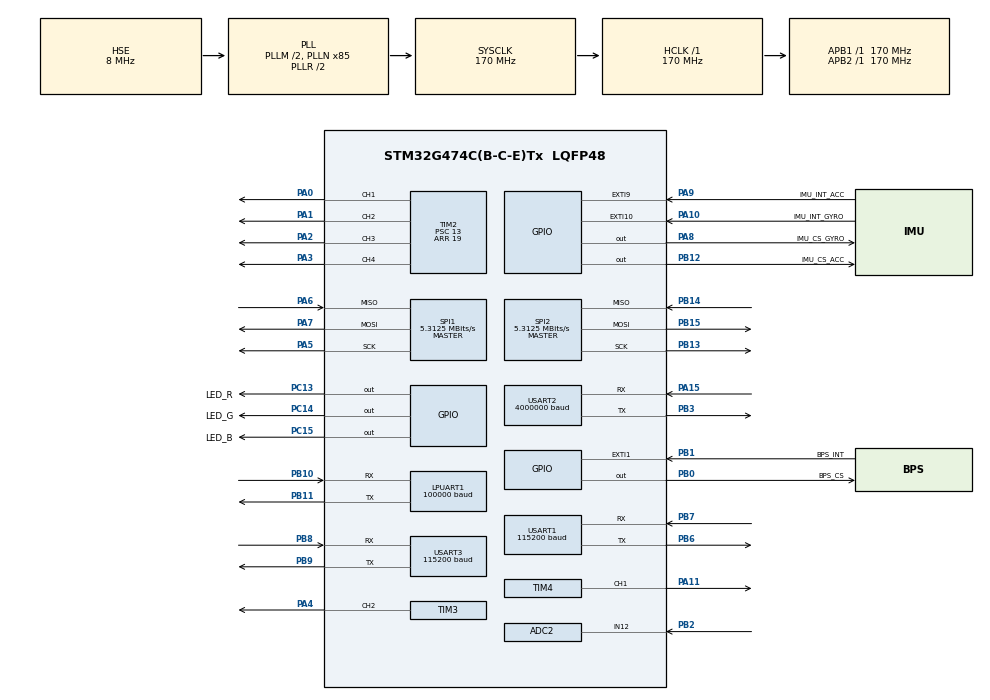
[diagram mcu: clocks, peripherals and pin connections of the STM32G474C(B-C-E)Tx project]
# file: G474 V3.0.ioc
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ADC2.Channel-0\#ChannelRegularConversion=ADC_CHANNEL_12
ADC2.NbrOfConversionFlag=1
ADC2.OffsetNumber-0\#ChannelRegularConversion=ADC_OFFSET_NONE
ADC2.Rank-0\#ChannelRegularConversion=1
ADC2.SamplingTime-0\#ChannelRegularConversion=ADC_SAMPLETIME_47CYCLES_5
Dma.LPUART1_RX.9.Direction=DMA_PERIPH_TO_MEMORY
Dma.LPUART1_RX.9.EventEnable=DISABLE
Dma.LPUART1_RX.9.Instance=DMA2_Channel2
Dma.LPUART1_RX.9.MemDataAlignment=DMA_MDATAALIGN_BYTE
Dma.LPUART1_RX.9.MemInc=DMA_MINC_ENABLE
Dma.LPUART1_RX.9.Mode=DMA_NORMAL
Dma.LPUART1_RX.9.PeriphDataAlignment=DMA_PDATAALIGN_BYTE
Dma.LPUART1_RX.9.PeriphInc=DMA_PINC_DISABLE
Dma.LPUART1_RX.9.Polarity=HAL_DMAMUX_REQ_GEN_RISING
Dma.LPUART1_RX.9.Priority=DMA_PRIORITY_LOW
Dma.LPUART1_RX.9.RequestNumber=1
Dma.LPUART1_RX.9.SignalID=NONE
Dma.LPUART1_RX.9.SyncEnable=DISABLE
Dma.LPUART1_RX.9.SyncPolarity=HAL_DMAMUX_SYNC_NO_EVENT
Dma.LPUART1_RX.9.SyncRequestNumber=1
Dma.LPUART1_RX.9.SyncSignalID=NONE
Dma.Request0=USART1_RX
Dma.Request1=USART1_TX
Dma.Request10=USART3_TX
Dma.Request2=USART2_RX
Dma.Request3=USART2_TX
Dma.Request4=USART3_RX
Dma.Request5=TIM2_CH1
Dma.Request6=TIM2_CH2
Dma.Request7=TIM2_CH3
Dma.Request8=TIM2_CH4
Dma.Request9=LPUART1_RX
Dma.TIM2_CH1.5.Direction=DMA_MEMORY_TO_PERIPH
Dma.TIM2_CH1.5.EventEnable=DISABLE
Dma.TIM2_CH1.5.Instance=DMA1_Channel6
Dma.TIM2_CH1.5.MemDataAlignment=DMA_MDATAALIGN_HALFWORD
Dma.TIM2_CH1.5.MemInc=DMA_MINC_ENABLE
Dma.TIM2_CH1.5.Mode=DMA_NORMAL
Dma.TIM2_CH1.5.PeriphDataAlignment=DMA_PDATAALIGN_HALFWORD
Dma.TIM2_CH1.5.PeriphInc=DMA_PINC_DISABLE
Dma.TIM2_CH1.5.Polarity=HAL_DMAMUX_REQ_GEN_RISING
Dma.TIM2_CH1.5.Priority=DMA_PRIORITY_HIGH
Dma.TIM2_CH1.5.RequestNumber=1
Dma.TIM2_CH1.5.SignalID=NONE
Dma.TIM2_CH1.5.SyncEnable=DISABLE
Dma.TIM2_CH1.5.SyncPolarity=HAL_DMAMUX_SYNC_NO_EVENT
Dma.TIM2_CH1.5.SyncRequestNumber=1
Dma.TIM2_CH1.5.SyncSignalID=NONE
Dma.TIM2_CH2.6.Direction=DMA_MEMORY_TO_PERIPH
Dma.TIM2_CH2.6.EventEnable=DISABLE
Dma.TIM2_CH2.6.Instance=DMA1_Channel7
Dma.TIM2_CH2.6.MemDataAlignment=DMA_MDATAALIGN_HALFWORD
Dma.TIM2_CH2.6.MemInc=DMA_MINC_ENABLE
Dma.TIM2_CH2.6.Mode=DMA_NORMAL
Dma.TIM2_CH2.6.PeriphDataAlignment=DMA_PDATAALIGN_HALFWORD
Dma.TIM2_CH2.6.PeriphInc=DMA_PINC_DISABLE
Dma.TIM2_CH2.6.Polarity=HAL_DMAMUX_REQ_GEN_RISING
Dma.TIM2_CH2.6.Priority=DMA_PRIORITY_HIGH
Dma.TIM2_CH2.6.RequestNumber=1
Dma.TIM2_CH2.6.SignalID=NONE
Dma.TIM2_CH2.6.SyncEnable=DISABLE
Dma.TIM2_CH2.6.SyncPolarity=HAL_DMAMUX_SYNC_NO_EVENT
Dma.TIM2_CH2.6.SyncRequestNumber=1
Dma.TIM2_CH2.6.SyncSignalID=NONE
Dma.TIM2_CH3.7.Direction=DMA_MEMORY_TO_PERIPH
Dma.TIM2_CH3.7.EventEnable=DISABLE
Dma.TIM2_CH3.7.Instance=DMA1_Channel8
Dma.TIM2_CH3.7.MemDataAlignment=DMA_MDATAALIGN_HALFWORD
Dma.TIM2_CH3.7.MemInc=DMA_MINC_ENABLE
Dma.TIM2_CH3.7.Mode=DMA_NORMAL
Dma.TIM2_CH3.7.PeriphDataAlignment=DMA_PDATAALIGN_HALFWORD
Dma.TIM2_CH3.7.PeriphInc=DMA_PINC_DISABLE
Dma.TIM2_CH3.7.Polarity=HAL_DMAMUX_REQ_GEN_RISING
Dma.TIM2_CH3.7.Priority=DMA_PRIORITY_HIGH
Dma.TIM2_CH3.7.RequestNumber=1
Dma.TIM2_CH3.7.SignalID=NONE
Dma.TIM2_CH3.7.SyncEnable=DISABLE
Dma.TIM2_CH3.7.SyncPolarity=HAL_DMAMUX_SYNC_NO_EVENT
Dma.TIM2_CH3.7.SyncRequestNumber=1
Dma.TIM2_CH3.7.SyncSignalID=NONE
Dma.TIM2_CH4.8.Direction=DMA_MEMORY_TO_PERIPH
Dma.TIM2_CH4.8.EventEnable=DISABLE
Dma.TIM2_CH4.8.Instance=DMA2_Channel1
Dma.TIM2_CH4.8.MemDataAlignment=DMA_MDATAALIGN_HALFWORD
Dma.TIM2_CH4.8.MemInc=DMA_MINC_ENABLE
Dma.TIM2_CH4.8.Mode=DMA_NORMAL
Dma.TIM2_CH4.8.PeriphDataAlignment=DMA_PDATAALIGN_HALFWORD
Dma.TIM2_CH4.8.PeriphInc=DMA_PINC_DISABLE
Dma.TIM2_CH4.8.Polarity=HAL_DMAMUX_REQ_GEN_RISING
Dma.TIM2_CH4.8.Priority=DMA_PRIORITY_HIGH
Dma.TIM2_CH4.8.RequestNumber=1
Dma.TIM2_CH4.8.SignalID=NONE
Dma.TIM2_CH4.8.SyncEnable=DISABLE
Dma.TIM2_CH4.8.SyncPolarity=HAL_DMAMUX_SYNC_NO_EVENT
Dma.TIM2_CH4.8.SyncRequestNumber=1
Dma.TIM2_CH4.8.SyncSignalID=NONE
Dma.USART1_RX.0.Direction=DMA_PERIPH_TO_MEMORY
Dma.USART1_RX.0.EventEnable=DISABLE
Dma.USART1_RX.0.Instance=DMA1_Channel1
Dma.USART1_RX.0.MemDataAlignment=DMA_MDATAALIGN_BYTE
Dma.USART1_RX.0.MemInc=DMA_MINC_ENABLE
Dma.USART1_RX.0.Mode=DMA_NORMAL
Dma.USART1_RX.0.PeriphDataAlignment=DMA_PDATAALIGN_BYTE
Dma.USART1_RX.0.PeriphInc=DMA_PINC_DISABLE
Dma.USART1_RX.0.Polarity=HAL_DMAMUX_REQ_GEN_RISING
Dma.USART1_RX.0.Priority=DMA_PRIORITY_LOW
Dma.USART1_RX.0.RequestNumber=1
Dma.USART1_RX.0.SignalID=NONE
Dma.USART1_RX.0.SyncEnable=DISABLE
Dma.USART1_RX.0.SyncPolarity=HAL_DMAMUX_SYNC_NO_EVENT
Dma.USART1_RX.0.SyncRequestNumber=1
Dma.USART1_RX.0.SyncSignalID=NONE
Dma.USART1_TX.1.Direction=DMA_MEMORY_TO_PERIPH
Dma.USART1_TX.1.EventEnable=DISABLE
Dma.USART1_TX.1.Instance=DMA1_Channel2
Dma.USART1_TX.1.MemDataAlignment=DMA_MDATAALIGN_BYTE
Dma.USART1_TX.1.MemInc=DMA_MINC_ENABLE
Dma.USART1_TX.1.Mode=DMA_NORMAL
Dma.USART1_TX.1.PeriphDataAlignment=DMA_PDATAALIGN_BYTE
Dma.USART1_TX.1.PeriphInc=DMA_PINC_DISABLE
Dma.USART1_TX.1.Polarity=HAL_DMAMUX_REQ_GEN_RISING
Dma.USART1_TX.1.Priority=DMA_PRIORITY_LOW
Dma.USART1_TX.1.RequestNumber=1
Dma.USART1_TX.1.SignalID=NONE
Dma.USART1_TX.1.SyncEnable=DISABLE
Dma.USART1_TX.1.SyncPolarity=HAL_DMAMUX_SYNC_NO_EVENT
Dma.USART1_TX.1.SyncRequestNumber=1
Dma.USART1_TX.1.SyncSignalID=NONE
Dma.USART2_RX.2.Direction=DMA_PERIPH_TO_MEMORY
Dma.USART2_RX.2.EventEnable=DISABLE
Dma.USART2_RX.2.Instance=DMA1_Channel3
Dma.USART2_RX.2.MemDataAlignment=DMA_MDATAALIGN_BYTE
Dma.USART2_RX.2.MemInc=DMA_MINC_ENABLE
Dma.USART2_RX.2.Mode=DMA_NORMAL
Dma.USART2_RX.2.PeriphDataAlignment=DMA_PDATAALIGN_BYTE
Dma.USART2_RX.2.PeriphInc=DMA_PINC_DISABLE
Dma.USART2_RX.2.Polarity=HAL_DMAMUX_REQ_GEN_RISING
Dma.USART2_RX.2.Priority=DMA_PRIORITY_LOW
Dma.USART2_RX.2.RequestNumber=1
Dma.USART2_RX.2.SignalID=NONE
Dma.USART2_RX.2.SyncEnable=DISABLE
Dma.USART2_RX.2.SyncPolarity=HAL_DMAMUX_SYNC_NO_EVENT
Dma.USART2_RX.2.SyncRequestNumber=1
Dma.USART2_RX.2.SyncSignalID=NONE
Dma.USART2_TX.3.Direction=DMA_MEMORY_TO_PERIPH
Dma.USART2_TX.3.EventEnable=DISABLE
Dma.USART2_TX.3.Instance=DMA1_Channel4
Dma.USART2_TX.3.MemDataAlignment=DMA_MDATAALIGN_BYTE
Dma.USART2_TX.3.MemInc=DMA_MINC_ENABLE
Dma.USART2_TX.3.Mode=DMA_NORMAL
Dma.USART2_TX.3.PeriphDataAlignment=DMA_PDATAALIGN_BYTE
Dma.USART2_TX.3.PeriphInc=DMA_PINC_DISABLE
Dma.USART2_TX.3.Polarity=HAL_DMAMUX_REQ_GEN_RISING
Dma.USART2_TX.3.Priority=DMA_PRIORITY_LOW
Dma.USART2_TX.3.RequestNumber=1
Dma.USART2_TX.3.SignalID=NONE
Dma.USART2_TX.3.SyncEnable=DISABLE
Dma.USART2_TX.3.SyncPolarity=HAL_DMAMUX_SYNC_NO_EVENT
Dma.USART2_TX.3.SyncRequestNumber=1
Dma.USART2_TX.3.SyncSignalID=NONE
Dma.USART3_RX.4.Direction=DMA_PERIPH_TO_MEMORY
Dma.USART3_RX.4.EventEnable=DISABLE
Dma.USART3_RX.4.Instance=DMA1_Channel5
Dma.USART3_RX.4.MemDataAlignment=DMA_MDATAALIGN_BYTE
Dma.USART3_RX.4.MemInc=DMA_MINC_ENABLE
Dma.USART3_RX.4.Mode=DMA_NORMAL
Dma.USART3_RX.4.PeriphDataAlignment=DMA_PDATAALIGN_BYTE
Dma.USART3_RX.4.PeriphInc=DMA_PINC_DISABLE
Dma.USART3_RX.4.Polarity=HAL_DMAMUX_REQ_GEN_RISING
Dma.USART3_RX.4.Priority=DMA_PRIORITY_LOW
Dma.USART3_RX.4.RequestNumber=1
Dma.USART3_RX.4.SignalID=NONE
Dma.USART3_RX.4.SyncEnable=DISABLE
Dma.USART3_RX.4.SyncPolarity=HAL_DMAMUX_SYNC_NO_EVENT
Dma.USART3_RX.4.SyncRequestNumber=1
Dma.USART3_RX.4.SyncSignalID=NONE
Dma.USART3_TX.10.Direction=DMA_MEMORY_TO_PERIPH
Dma.USART3_TX.10.EventEnable=DISABLE
Dma.USART3_TX.10.Instance=DMA2_Channel3
Dma.USART3_TX.10.MemDataAlignment=DMA_MDATAALIGN_BYTE
Dma.USART3_TX.10.MemInc=DMA_MINC_ENABLE
Dma.USART3_TX.10.Mode=DMA_NORMAL
Dma.USART3_TX.10.PeriphDataAlignment=DMA_PDATAALIGN_BYTE
Dma.USART3_TX.10.PeriphInc=DMA_PINC_DISABLE
Dma.USART3_TX.10.Polarity=HAL_DMAMUX_REQ_GEN_RISING
Dma.USART3_TX.10.Priority=DMA_PRIORITY_LOW
Dma.USART3_TX.10.RequestNumber=1
Dma.USART3_TX.10.SignalID=NONE
Dma.USART3_TX.10.SyncEnable=DISABLE
Dma.USART3_TX.10.SyncPolarity=HAL_DMAMUX_SYNC_NO_EVENT
Dma.USART3_TX.10.SyncRequestNumber=1
Dma.USART3_TX.10.SyncSignalID=NONE
FREERTOS.Tasks01=defaultTask,0,128,StartDefaultTask,As weak,NULL,Dynamic,NULL,NULL;Flight,3,4096,Flight_Task,As weak,NULL,Dynamic,NULL,NULL;Sensor,1,1024,Sensor_Task,As weak,NULL,Dynamic,NULL,NULL;Remote,1,512,Remote_Task,As weak,NULL,Dynamic,NULL,NULL;Buzzer,-3,512,Buzzer_Task,As weak,NULL,Dynamic,NULL,NULL;LED,-3,256,LED_Task,As weak,NULL,Dynamic,NULL,NULL;Communicate,2,512,Communicate_Task,As weak,NULL,Dynamic,NULL,NULL
FREERTOS.configENABLE_FPU=1
FREERTOS.configTOTAL_HEAP_SIZE=65536
LPUART1.BaudRate=100000
LPUART1.Parity=UART_PARITY_EVEN
LPUART1.RxPinLevelInvertParam=UART_ADVFEATURE_RXINV_ENABLE
LPUART1.WordLength=UART_WORDLENGTH_9B
Mcu.Family=STM32G4
Mcu.Name=STM32G474C(B-C-E)Tx
Mcu.Package=LQFP48
NVIC.DMA1_Channel1_IRQn=true\:5\:0\:false\:false\:true\:true\:false\:true\:true
NVIC.DMA1_Channel2_IRQn=true\:5\:0\:false\:false\:true\:true\:false\:true\:true
NVIC.DMA1_Channel3_IRQn=true\:5\:0\:false\:false\:true\:true\:false\:true\:true
NVIC.DMA1_Channel4_IRQn=true\:5\:0\:false\:false\:true\:true\:false\:true\:true
NVIC.DMA1_Channel5_IRQn=true\:5\:0\:false\:false\:true\:true\:false\:true\:true
NVIC.DMA1_Channel6_IRQn=true\:5\:0\:false\:false\:true\:true\:false\:true\:true
NVIC.DMA1_Channel7_IRQn=true\:5\:0\:false\:false\:true\:true\:false\:true\:true
NVIC.DMA1_Channel8_IRQn=true\:5\:0\:false\:false\:true\:true\:false\:true\:true
NVIC.DMA2_Channel1_IRQn=true\:5\:0\:false\:false\:true\:true\:false\:true\:true
NVIC.DMA2_Channel2_IRQn=true\:5\:0\:false\:false\:true\:true\:false\:true\:true
NVIC.DMA2_Channel3_IRQn=true\:5\:0\:false\:false\:true\:true\:false\:true\:true
NVIC.EXTI1_IRQn=true\:5\:0\:false\:false\:true\:true\:false\:true\:true
NVIC.EXTI9_5_IRQn=true\:5\:0\:false\:false\:true\:true\:false\:true\:true
NVIC.EXTI15_10_IRQn=true\:5\:0\:false\:false\:true\:true\:false\:true\:true
NVIC.LPUART1_IRQn=true\:5\:0\:false\:false\:true\:true\:true\:true\:true
NVIC.PriorityGroup=NVIC_PRIORITYGROUP_4
NVIC.TIM20_UP_IRQn=true\:15\:0\:false\:false\:true\:false\:false\:true\:true
NVIC.TIM6_DAC_IRQn=true\:5\:0\:false\:false\:true\:true\:false\:true\:true
NVIC.TIM7_DAC_IRQn=true\:5\:0\:false\:false\:true\:true\:false\:true\:true
NVIC.TimeBase=TIM20_UP_IRQn
NVIC.TimeBaseIP=TIM20
NVIC.USART1_IRQn=true\:5\:0\:false\:false\:true\:true\:true\:true\:true
NVIC.USART2_IRQn=true\:5\:0\:false\:false\:true\:true\:true\:true\:true
NVIC.USART3_IRQn=true\:5\:0\:false\:false\:true\:true\:true\:true\:true
PA0.Signal=S_TIM2_CH1
PA1.Signal=S_TIM2_CH2
PA10.GPIO_Label=IMU_INT_GYRO
PA10.GPIO_ModeDefaultEXTI=GPIO_MODE_IT_FALLING
PA10.GPIO_PuPd=GPIO_PULLUP
PA10.Signal=GPXTI10
PA11.Signal=S_TIM4_CH1
PA13.Mode=Serial_Wire
PA13.Signal=SYS_JTMS-SWDIO
PA14.Mode=Serial_Wire
PA14.Signal=SYS_JTCK-SWCLK
PA15.Mode=Asynchronous
PA15.Signal=USART2_RX
PA2.Signal=S_TIM2_CH3
PA3.Signal=S_TIM2_CH4
PA4.Signal=S_TIM3_CH2
PA5.Mode=Full_Duplex_Master
PA5.Signal=SPI1_SCK
PA6.Mode=Full_Duplex_Master
PA6.Signal=SPI1_MISO
PA7.Mode=Full_Duplex_Master
PA7.Signal=SPI1_MOSI
PA8.GPIO_Label=IMU_CS_GYRO
PA8.GPIO_ModeDefaultOutputPP=GPIO_MODE_OUTPUT_PP
PA8.GPIO_PuPd=GPIO_PULLUP
PA8.GPIO_Speed=GPIO_SPEED_FREQ_HIGH
PA8.PinState=GPIO_PIN_SET
PA8.Signal=GPIO_Output
PA9.GPIO_Label=IMU_INT_ACC
PA9.GPIO_ModeDefaultEXTI=GPIO_MODE_IT_FALLING
PA9.GPIO_PuPd=GPIO_PULLUP
PA9.Signal=GPXTI9
PB0.GPIO_Label=BPS_CS
PB0.GPIO_PuPd=GPIO_PULLUP
PB0.GPIO_Speed=GPIO_SPEED_FREQ_HIGH
PB0.PinState=GPIO_PIN_SET
PB0.Signal=GPIO_Output
PB1.GPIO_Label=BPS_INT
PB1.GPIO_ModeDefaultEXTI=GPIO_MODE_IT_FALLING
PB1.GPIO_PuPd=GPIO_PULLUP
PB1.Signal=GPXTI1
PB10.Mode=Asynchronous
PB10.Signal=LPUART1_RX
PB11.Mode=Asynchronous
PB11.Signal=LPUART1_TX
PB12.GPIO_Label=IMU_CS_ACC
PB12.GPIO_ModeDefaultOutputPP=GPIO_MODE_OUTPUT_PP
PB12.GPIO_PuPd=GPIO_PULLUP
PB12.GPIO_Speed=GPIO_SPEED_FREQ_HIGH
PB12.PinState=GPIO_PIN_SET
PB12.Signal=GPIO_Output
PB13.Mode=Full_Duplex_Master
PB13.Signal=SPI2_SCK
PB14.Mode=Full_Duplex_Master
PB14.Signal=SPI2_MISO
PB15.Mode=Full_Duplex_Master
PB15.Signal=SPI2_MOSI
PB2.Mode=IN12-Single-Ended
PB2.Signal=ADC2_IN12
PB3.Mode=Asynchronous
PB3.Signal=USART2_TX
PB6.Mode=Asynchronous
PB6.Signal=USART1_TX
PB7.Mode=Asynchronous
PB7.Signal=USART1_RX
PB8-BOOT0.Mode=Asynchronous
PB8-BOOT0.Signal=USART3_RX
PB9.Mode=Asynchronous
PB9.Signal=USART3_TX
PC13.GPIO_Label=LED_R
PC13.Signal=GPIO_Output
PC14-OSC32_IN.GPIO_Label=LED_G
PC14-OSC32_IN.Signal=GPIO_Output
PC15-OSC32_OUT.GPIO_Label=LED_B
PC15-OSC32_OUT.Signal=GPIO_Output
PF0-OSC_IN.Mode=HSE-External-Oscillator
PF0-OSC_IN.Signal=RCC_OSC_IN
PF1-OSC_OUT.Mode=HSE-External-Oscillator
PF1-OSC_OUT.Signal=RCC_OSC_OUT
ProjectManager.HeapSize=0x3000
ProjectManager.StackSize=0x4000
ProjectManager.TargetToolchain=MDK-ARM V5.32
RCC.ADC12Freq_Value=170000000
RCC.ADC345Freq_Value=170000000
RCC.AHBFreq_Value=170000000
RCC.APB1Freq_Value=170000000
RCC.APB1TimFreq_Value=170000000
RCC.APB2Freq_Value=170000000
RCC.APB2TimFreq_Value=170000000
RCC.CK48CLockSelection=RCC_USBCLKSOURCE_HSI48
RCC.CortexFreq_Value=170000000
RCC.EXTERNAL_CLOCK_VALUE=12288000
RCC.HCLKFreq_Value=170000000
RCC.HSE_VALUE=8000000
RCC.HSI48_VALUE=48000000
RCC.HSI_VALUE=16000000
RCC.LSE_VALUE=32768
RCC.PLLM=RCC_PLLM_DIV2
RCC.PLLN=85
RCC.PLLSourceVirtual=RCC_PLLSOURCE_HSE
RCC.SYSCLKFreq_VALUE=170000000
RCC.SYSCLKSource=RCC_SYSCLKSOURCE_PLLCLK
RCC.USBFreq_Value=48000000
RCC.VCOOutputFreq_Value=340000000
SH.S_TIM2_CH1.0=TIM2_CH1,PWM Generation1 CH1
SH.S_TIM2_CH2.0=TIM2_CH2,PWM Generation2 CH2
SH.S_TIM2_CH3.0=TIM2_CH3,PWM Generation3 CH3
SH.S_TIM2_CH4.0=TIM2_CH4,PWM Generation4 CH4
SH.S_TIM3_CH2.0=TIM3_CH2,PWM Generation2 CH2
SH.S_TIM4_CH1.0=TIM4_CH1,PWM Generation1 CH1
SPI1.BaudRatePrescaler=SPI_BAUDRATEPRESCALER_32
SPI1.CalculateBaudRate=5.3125 MBits/s
SPI1.DataSize=SPI_DATASIZE_8BIT
SPI1.Direction=SPI_DIRECTION_2LINES
SPI1.Mode=SPI_MODE_MASTER
SPI1.VirtualType=VM_MASTER
SPI2.BaudRatePrescaler=SPI_BAUDRATEPRESCALER_32
SPI2.CLKPhase=SPI_PHASE_2EDGE
SPI2.CLKPolarity=SPI_POLARITY_HIGH
SPI2.CalculateBaudRate=5.3125 MBits/s
SPI2.DataSize=SPI_DATASIZE_8BIT
SPI2.Direction=SPI_DIRECTION_2LINES
SPI2.Mode=SPI_MODE_MASTER
SPI2.VirtualType=VM_MASTER
TIM2.AutoReloadPreload=TIM_AUTORELOAD_PRELOAD_ENABLE
TIM2.Channel-PWM\ Generation1\ CH1=TIM_CHANNEL_1
TIM2.Channel-PWM\ Generation2\ CH2=TIM_CHANNEL_2
TIM2.Channel-PWM\ Generation3\ CH3=TIM_CHANNEL_3
TIM2.Channel-PWM\ Generation4\ CH4=TIM_CHANNEL_4
TIM2.PeriodNoDither=19
TIM2.Prescaler=13
TIM3.AutoReloadPreload=TIM_AUTORELOAD_PRELOAD_ENABLE
TIM3.Channel-PWM\ Generation2\ CH2=TIM_CHANNEL_2
TIM4.Channel-PWM\ Generation1\ CH1=TIM_CHANNEL_1
TIM4.PeriodNoDither=20000-1
TIM4.Prescaler=169
TIM6.AutoReloadPreload=TIM_AUTORELOAD_PRELOAD_DISABLE
TIM6.PeriodNoDither=499
TIM6.Prescaler=169
TIM7.AutoReloadPreload=TIM_AUTORELOAD_PRELOAD_DISABLE
TIM7.PeriodNoDither=249
TIM7.Prescaler=169
USART1.BaudRate=115200
USART1.VirtualMode-Asynchronous=VM_ASYNC
USART2.BaudRate=4000000
USART2.VirtualMode-Asynchronous=VM_ASYNC
USART3.BaudRate=115200
USART3.Parity=PARITY_NONE
USART3.RxPinLevelInvertParam=ADVFEATURE_RXINV_DISABLE
USART3.VirtualMode-Asynchronous=VM_ASYNC
USART3.WordLength=WORDLENGTH_8B
VP_FREERTOS_VS_CMSIS_V1.Mode=CMSIS_V1
VP_SYS_VS_DBSignals.Mode=DisableDeadBatterySignals
VP_SYS_VS_tim20.Mode=TIM20
VP_TIM2_VS_ClockSourceINT.Mode=Internal
VP_TIM3_VS_ClockSourceINT.Mode=Internal
VP_TIM4_VS_ClockSourceINT.Mode=Internal
VP_TIM6_VS_ClockSourceINT.Mode=Enable_Timer
VP_TIM7_VS_ClockSourceINT.Mode=Enable_Timer
board=custom

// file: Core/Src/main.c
/* USER CODE BEGIN Header */
/**
  ******************************************************************************
  * @file           : main.c
  * @brief          : Main program body
  ******************************************************************************
  * @attention
  *
  * Copyright (c) 2026 STMicroelectronics.
  * All rights reserved.
  *
  * This software is licensed under terms that can be found in the LICENSE file
  * in the root directory of this software component.
  * If no LICENSE file comes with this software, it is provided AS-IS.
  *
  ******************************************************************************
  */
/* USER CODE END Header */
#include "main.h"
#include "cmsis_os.h"
#include "adc.h"
#include "dma.h"
#include "usart.h"
#include "spi.h"
#include "tim.h"
#include "gpio.h"

/* USER CODE BEGIN Includes */
#include "USART_Driver.h"
#include "Buzzer.h"
#include "Heater.h"
/* USER CODE END Includes */

void SystemClock_Config(void);
void MX_FREERTOS_Init(void);

int main(void)
{

  /* MCU Configuration--------------------------------------------------------*/

  /* Reset of all peripherals, Initializes the Flash interface and the Systick. */
  HAL_Init();

  /* Configure the system clock */
  SystemClock_Config();

  /* USER CODE BEGIN SysInit */
    /* ★ 加热 MOSFET 栅极尽早拉低(PA11 = TIM4_CH1):
     *   上电到 MX_TIM4_Init() 之前引脚是浮空输入, 这里先配成推挽输出低,
     *   保证加热管从第一个毫秒起就是关断的(栅极另有 10k 下拉, 双保险)。 */
    __HAL_RCC_GPIOA_CLK_ENABLE();
    {
      GPIO_InitTypeDef gpio = {0};
      gpio.Pin   = GPIO_PIN_11;
      gpio.Mode  = GPIO_MODE_OUTPUT_PP;
      gpio.Pull  = GPIO_NOPULL;
      gpio.Speed = GPIO_SPEED_FREQ_LOW;
      HAL_GPIO_Init(GPIOA, &gpio);
      HAL_GPIO_WritePin(GPIOA, GPIO_PIN_11, GPIO_PIN_RESET);
    }

    HAL_Delay(500);
  /* USER CODE END SysInit */

  /* Initialize all configured peripherals */
  MX_GPIO_Init();
  MX_DMA_Init();
  MX_ADC2_Init();
  MX_SPI2_Init();
  MX_TIM3_Init();
  MX_USART1_UART_Init();
  MX_USART2_UART_Init();
  MX_USART3_UART_Init();
  MX_TIM6_Init();
  MX_TIM7_Init();
  MX_TIM2_Init();
  MX_LPUART1_UART_Init();
  MX_SPI1_Init();
  MX_TIM4_Init();
  /* USER CODE BEGIN 2 */
    DWT_Init(170);

    USART_Init();

    /*===| 系统初始化完成提示音 |===*/
//    Buzzer_Set_SoundEffect(Buzzer_SoundEffect_SystemStart);
  /* USER CODE END 2 */

  /* Call init function for freertos objects (in cmsis_os2.c) */
  MX_FREERTOS_Init();

  /* Start scheduler */
  osKernelStart();

  /* We should never get here as control is now taken by the scheduler */

  /* Infinite loop */
  while (1)
  {

  }
}

void SystemClock_Config(void)
{
  RCC_OscInitTypeDef RCC_OscInitStruct = {0};
  RCC_ClkInitTypeDef RCC_ClkInitStruct = {0};

  /** Configure the main internal regulator output voltage
  */
  HAL_PWREx_ControlVoltageScaling(PWR_REGULATOR_VOLTAGE_SCALE1_BOOST);

  /** Initializes the RCC Oscillators according to the specified parameters
  * in the RCC_OscInitTypeDef structure.
  */
  RCC_OscInitStruct.OscillatorType = RCC_OSCILLATORTYPE_HSE;
  RCC_OscInitStruct.HSEState = RCC_HSE_ON;
  RCC_OscInitStruct.PLL.PLLState = RCC_PLL_ON;
  RCC_OscInitStruct.PLL.PLLSource = RCC_PLLSOURCE_HSE;
  RCC_OscInitStruct.PLL.PLLM = RCC_PLLM_DIV2;
  RCC_OscInitStruct.PLL.PLLN = 85;
  RCC_OscInitStruct.PLL.PLLP = RCC_PLLP_DIV2;
  RCC_OscInitStruct.PLL.PLLQ = RCC_PLLQ_DIV2;
  RCC_OscInitStruct.PLL.PLLR = RCC_PLLR_DIV2;
  if (HAL_RCC_OscConfig(&RCC_OscInitStruct) != HAL_OK)
  {
    Error_Handler();
  }

  /** Initializes the CPU, AHB and APB buses clocks
  */
  RCC_ClkInitStruct.ClockType = RCC_CLOCKTYPE_HCLK|RCC_CLOCKTYPE_SYSCLK
                              |RCC_CLOCKTYPE_PCLK1|RCC_CLOCKTYPE_PCLK2;
  RCC_ClkInitStruct.SYSCLKSource = RCC_SYSCLKSOURCE_PLLCLK;
  RCC_ClkInitStruct.AHBCLKDivider = RCC_SYSCLK_DIV1;
  RCC_ClkInitStruct.APB1CLKDivider = RCC_HCLK_DIV1;
  RCC_ClkInitStruct.APB2CLKDivider = RCC_HCLK_DIV1;

  if (HAL_RCC_ClockConfig(&RCC_ClkInitStruct, FLASH_LATENCY_4) != HAL_OK)
  {
    Error_Handler();
  }
}

void HAL_TIM_PeriodElapsedCallback(TIM_HandleTypeDef *htim)
{
  if (htim->Instance == TIM20)
  {
    HAL_IncTick();
  }
}

void Error_Handler(void)
{
  /* USER CODE BEGIN Error_Handler_Debug */
  /* User can add his own implementation to report the HAL error return state */
  /* ★ 出错第一件事: 关加热 PWM(只写寄存器, 不依赖 HAL/调度器) */
  Heater_EmergencyOff();

  __disable_irq();
  while (1)
  {
  }
  /* USER CODE END Error_Handler_Debug */
}

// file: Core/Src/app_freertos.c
/* USER CODE BEGIN Header */
/**
  ******************************************************************************
  * File Name          : app_freertos.c
  * Description        : Code for freertos applications
  ******************************************************************************
  * @attention
  *
  * Copyright (c) 2026 STMicroelectronics.
  * All rights reserved.
  *
  * This software is licensed under terms that can be found in the LICENSE file
  * in the root directory of this software component.
  * If no LICENSE file comes with this software, it is provided AS-IS.
  *
  ******************************************************************************
  */
/* USER CODE END Header */

#include "FreeRTOS.h"
#include "task.h"
#include "main.h"
#include "cmsis_os.h"

osThreadId defaultTaskHandle;
osThreadId FlightHandle;
osThreadId SensorHandle;
osThreadId RemoteHandle;
osThreadId BuzzerHandle;
osThreadId LEDHandle;
osThreadId CommunicateHandle;

void StartDefaultTask(void const * argument);
void Flight_Task(void const * argument);
void Sensor_Task(void const * argument);
void Remote_Task(void const * argument);
void Buzzer_Task(void const * argument);
void LED_Task(void const * argument);
void Communicate_Task(void const * argument);

void MX_FREERTOS_Init(void); /* (MISRA C 2004 rule 8.1) */

void MX_FREERTOS_Init(void) {

  /* Create the thread(s) */
  /* definition and creation of defaultTask */
  osThreadDef(defaultTask, StartDefaultTask, osPriorityNormal, 0, 128);
  defaultTaskHandle = osThreadCreate(osThread(defaultTask), NULL);

  /* definition and creation of Flight */
  osThreadDef(Flight, Flight_Task, osPriorityRealtime, 0, 4096);
  FlightHandle = osThreadCreate(osThread(Flight), NULL);

  /* definition and creation of Sensor */
  osThreadDef(Sensor, Sensor_Task, osPriorityAboveNormal, 0, 1024);
  SensorHandle = osThreadCreate(osThread(Sensor), NULL);

  /* definition and creation of Remote */
  osThreadDef(Remote, Remote_Task, osPriorityAboveNormal, 0, 512);
  RemoteHandle = osThreadCreate(osThread(Remote), NULL);

  /* definition and creation of Buzzer */
  osThreadDef(Buzzer, Buzzer_Task, osPriorityIdle, 0, 512);
  BuzzerHandle = osThreadCreate(osThread(Buzzer), NULL);

  /* definition and creation of LED */
  osThreadDef(LED, LED_Task, osPriorityIdle, 0, 256);
  LEDHandle = osThreadCreate(osThread(LED), NULL);

  /* definition and creation of Communicate */
  osThreadDef(Communicate, Communicate_Task, osPriorityHigh, 0, 512);
  CommunicateHandle = osThreadCreate(osThread(Communicate), NULL);

}

__weak void StartDefaultTask(void const * argument)
{
  for(;;)
  {
    osDelay(1);
  }
}

/* USER CODE BEGIN Header_Flight_Task */
/**
* @brief Function implementing the Flight thread.
* @param argument: Not used
* @retval None
* @note  4kHz 主循环的入口在 User/Task/Flight.c, 这里是 CubeMX 生成的弱定义
*/
/* USER CODE END Header_Flight_Task */
__weak void Flight_Task(void const * argument)
{
  for(;;)
  {
    osDelay(1);
  }
}

__weak void Sensor_Task(void const * argument)
{
  for(;;)
  {
    osDelay(1);
  }
}

__weak void Remote_Task(void const * argument)
{
  for(;;)
  {
    osDelay(1);
  }
}

__weak void Buzzer_Task(void const * argument)
{
  for(;;)
  {
    osDelay(1);
  }
}

__weak void LED_Task(void const * argument)
{
  for(;;)
  {
    osDelay(1);
  }
}

__weak void Communicate_Task(void const * argument)
{
  for(;;)
  {
    osDelay(1);
  }
}
